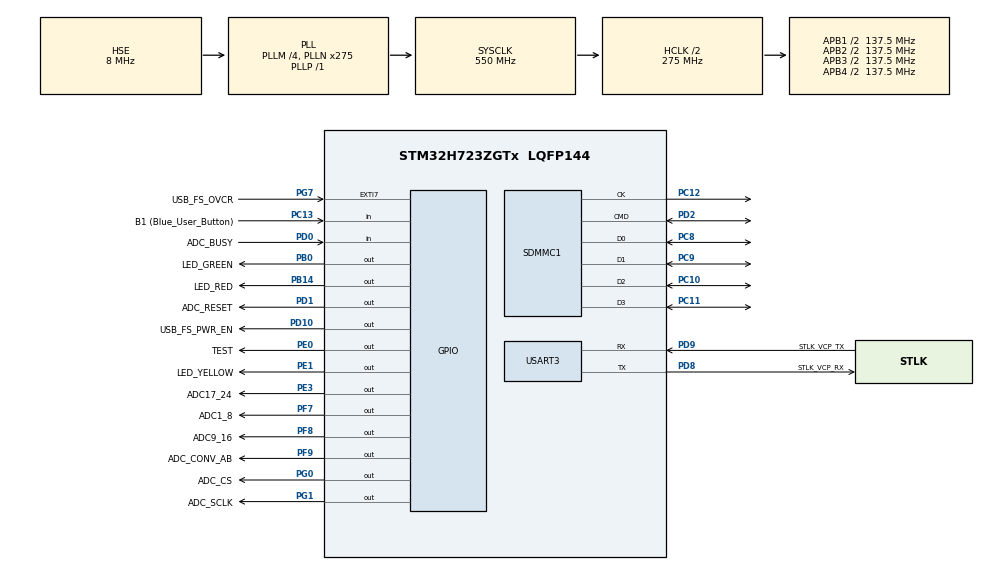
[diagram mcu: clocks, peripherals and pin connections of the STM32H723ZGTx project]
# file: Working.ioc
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FATFS.BSP.number=1
FATFS0.BSP.STBoard=false
FATFS0.BSP.api=Unknown
FATFS0.BSP.i2caddr=0
FATFS0.BSP.instance=PC13
FATFS0.BSP.ip=GPIO
FATFS0.BSP.mode=Input
FATFS0.BSP.name=Detect_SDIO
FATFS0.BSP.solution=PC13
Mcu.Family=STM32H7
Mcu.Name=STM32H723ZGTx
Mcu.Package=LQFP144
Mdma.MDMA_Channel0.Request0=SDMMC1_DMA_ENDBUFFER
Mdma.MDMA_Channel0.RequestsNb=1
Mdma.MDMA_Channel0.SDMMC1_DMA_ENDBUFFER.0.BlockCount=0
Mdma.MDMA_Channel0.SDMMC1_DMA_ENDBUFFER.0.BlockDataLength=0
Mdma.MDMA_Channel0.SDMMC1_DMA_ENDBUFFER.0.BufferTransferLength=1
Mdma.MDMA_Channel0.SDMMC1_DMA_ENDBUFFER.0.CircularMode=MDMA_LINEAR_LIST
Mdma.MDMA_Channel0.SDMMC1_DMA_ENDBUFFER.0.DataAlignment=MDMA_DATAALIGN_PACKENABLE
Mdma.MDMA_Channel0.SDMMC1_DMA_ENDBUFFER.0.DestBlockAddressOffset=0
Mdma.MDMA_Channel0.SDMMC1_DMA_ENDBUFFER.0.DestBurst=MDMA_DEST_BURST_SINGLE
Mdma.MDMA_Channel0.SDMMC1_DMA_ENDBUFFER.0.DestDataSize=MDMA_DEST_DATASIZE_BYTE
Mdma.MDMA_Channel0.SDMMC1_DMA_ENDBUFFER.0.DestinationInc=MDMA_DEST_INC_BYTE
Mdma.MDMA_Channel0.SDMMC1_DMA_ENDBUFFER.0.DstAddress=0
Mdma.MDMA_Channel0.SDMMC1_DMA_ENDBUFFER.0.Endianness=MDMA_LITTLE_ENDIANNESS_PRESERVE
Mdma.MDMA_Channel0.SDMMC1_DMA_ENDBUFFER.0.Instance=MDMA_Channel0
Mdma.MDMA_Channel0.SDMMC1_DMA_ENDBUFFER.0.MaskAddress=0
Mdma.MDMA_Channel0.SDMMC1_DMA_ENDBUFFER.0.MaskData=0
Mdma.MDMA_Channel0.SDMMC1_DMA_ENDBUFFER.0.Priority=MDMA_PRIORITY_LOW
Mdma.MDMA_Channel0.SDMMC1_DMA_ENDBUFFER.0.Rank=First
Mdma.MDMA_Channel0.SDMMC1_DMA_ENDBUFFER.0.SourceBlockAddressOffset=0
Mdma.MDMA_Channel0.SDMMC1_DMA_ENDBUFFER.0.SourceBurst=MDMA_SOURCE_BURST_SINGLE
Mdma.MDMA_Channel0.SDMMC1_DMA_ENDBUFFER.0.SourceDataSize=MDMA_SRC_DATASIZE_BYTE
Mdma.MDMA_Channel0.SDMMC1_DMA_ENDBUFFER.0.SourceInc=MDMA_SRC_INC_BYTE
Mdma.MDMA_Channel0.SDMMC1_DMA_ENDBUFFER.0.SrcAddress=0
Mdma.MDMA_Channel0.SDMMC1_DMA_ENDBUFFER.0.TransferTriggerMode=MDMA_BUFFER_TRANSFER
Mdma.RequestSet0=MDMA_Channel0
Mdma.RequestSetsNb=1
NVIC.MDMA_IRQn=true\:0\:0\:false\:false\:true\:false\:true
NVIC.PriorityGroup=NVIC_PRIORITYGROUP_4
NVIC.SDMMC1_IRQn=true\:0\:0\:false\:false\:true\:true\:true
NVIC.TIM7_IRQn=true\:0\:0\:false\:false\:true\:true\:true
PA1.GPIO_Label=RMII_REF_CLK
PA1.Signal=ETH_REF_CLK
PA10.GPIO_Label=USB_FS_ID
PA10.Signal=USB_OTG_HS_ID
PA13(JTMS/SWDIO).GPIO_Label=SWDIO
PA13(JTMS/SWDIO).Mode=Trace_Asynchronous_SW
PA13(JTMS/SWDIO).Signal=DEBUG_JTMS-SWDIO
PA14(JTCK/SWCLK).GPIO_Label=SWCLK
PA14(JTCK/SWCLK).Mode=Trace_Asynchronous_SW
PA14(JTCK/SWCLK).Signal=DEBUG_JTCK-SWCLK
PA2.GPIO_Label=RMII_MDIO
PA2.Signal=ETH_MDIO
PA7.GPIO_Label=RMII_CRS_DV
PA7.Signal=ETH_CRS_DV
PA9.GPIO_Label=USB_FS_VBUS
PA9.Signal=USB_OTG_HS_VBUS
PB0.GPIO_Label=LED_GREEN
PB0.Signal=GPIO_Output
PB13.GPIO_Label=RMII_TXD1
PB13.Signal=ETH_TXD1
PB14.GPIO_Label=LED_RED
PB14.Signal=GPIO_Output
PB3(JTDO/TRACESWO).GPIO_Label=SWO
PB3(JTDO/TRACESWO).Mode=Trace_Asynchronous_SW
PB3(JTDO/TRACESWO).Signal=DEBUG_JTDO-SWO
PC1.GPIO_Label=RMII_MDC
PC1.Signal=ETH_MDC
PC10.Mode=SD_4_bits_Wide_bus
PC10.Signal=SDMMC1_D2
PC11.Mode=SD_4_bits_Wide_bus
PC11.Signal=SDMMC1_D3
PC12.Mode=SD_4_bits_Wide_bus
PC12.Signal=SDMMC1_CK
PC13.GPIO_Label=B1 (Blue_User_Button)
PC13.Signal=GPIO_Input
PC14-OSC32_IN.Mode=LSE-External-Oscillator
PC14-OSC32_IN.Signal=RCC_OSC32_IN
PC15-OSC32_OUT.Mode=LSE-External-Oscillator
PC15-OSC32_OUT.Signal=RCC_OSC32_OUT
PC4.GPIO_Label=RMII_RXD0
PC4.Signal=ETH_RXD0
PC5.GPIO_Label=RMII_RXD1
PC5.Signal=ETH_RXD1
PC8.Mode=SD_4_bits_Wide_bus
PC8.Signal=SDMMC1_D0
PC9.Mode=SD_4_bits_Wide_bus
PC9.Signal=SDMMC1_D1
PD0.GPIO_Label=ADC_BUSY
PD0.Signal=GPIO_Input
PD1.GPIO_Label=ADC_RESET
PD1.Signal=GPIO_Output
PD10.GPIO_Label=USB_FS_PWR_EN
PD10.Signal=GPIO_Output
PD2.Mode=SD_4_bits_Wide_bus
PD2.Signal=SDMMC1_CMD
PD8.GPIO_Label=STLK_VCP_RX
PD8.Mode=Asynchronous
PD8.Signal=USART3_TX
PD9.GPIO_Label=STLK_VCP_TX
PD9.Mode=Asynchronous
PD9.Signal=USART3_RX
PE0.GPIO_Label=TEST
PE0.PinState=GPIO_PIN_RESET
PE0.Signal=GPIO_Output
PE1.GPIO_Label=LED_YELLOW
PE1.Signal=GPIO_Output
PE3.GPIO_Label=ADC17_24
PE3.Signal=GPIO_Output
PF7.GPIO_Label=ADC1_8
PF7.Signal=GPIO_Output
PF8.GPIO_Label=ADC9_16
PF8.Signal=GPIO_Output
PF9.GPIO_Label=ADC_CONV_AB
PF9.Signal=GPIO_Output
PG0.GPIO_Label=ADC_CS
PG0.Signal=GPIO_Output
PG1.GPIO_Label=ADC_SCLK
PG1.GPIO_Speed=GPIO_SPEED_FREQ_VERY_HIGH
PG1.Signal=GPIO_Output
PG11.GPIO_Label=RMII_TX_EN
PG11.Signal=ETH_TX_EN
PG13.GPIO_Label=RMII_TXD0
PG13.Signal=ETH_TXD0
PG7.GPIO_Label=USB_FS_OVCR
PG7.Signal=GPXTI7
PH0-OSC_IN.GPIO_Label=MCO
PH0-OSC_IN.Mode=HSE-External-Clock-Source
PH0-OSC_IN.Signal=RCC_OSC_IN
PH1-OSC_OUT.Signal=RCC_OSC_OUT
ProjectManager.HeapSize=0x200
ProjectManager.StackSize=0x400
ProjectManager.TargetToolchain=STM32CubeIDE
RCC.ADCFreq_Value=76000000
RCC.APB1Freq_Value=137500000
RCC.APB2Freq_Value=137500000
RCC.APB3Freq_Value=137500000
RCC.APB4Freq_Value=137500000
RCC.CortexFreq_Value=550000000
RCC.D1PPRE=RCC_APB3_DIV2
RCC.D2PPRE1=RCC_APB1_DIV2
RCC.D2PPRE2=RCC_APB2_DIV2
RCC.D3PPRE=RCC_APB4_DIV2
RCC.DIVM1=4
RCC.DIVM2=1
RCC.DIVN1=275
RCC.DIVN2=19
RCC.DIVP1=1
RCC.DIVQ1=4
RCC.HCLKFreq_Value=275000000
RCC.HPRE=RCC_HCLK_DIV2
RCC.HSE_VALUE=8000000
RCC.PLL2FRACN=0
RCC.PLL2_VCO_SEL-AdvancedSettings=RCC_PLL2VCOMEDIUM
RCC.PLL3FRACN=0
RCC.PLL3_VCO_SEL-AdvancedSettings=RCC_PLL3VCOMEDIUM
RCC.PLLFRACN=0
RCC.PLLSourceVirtual=RCC_PLLSOURCE_HSE
RCC.SYSCLKFreq_VALUE=550000000
RCC.SYSCLKSource=RCC_SYSCLKSOURCE_PLLCLK
RCC.USBCLockSelection=RCC_USBCLKSOURCE_HSI48
RCC.USBFreq_Value=48000000
SDMMC1.ClockDiv=5
SDMMC1.ClockPowerSave=SDMMC_CLOCK_POWER_SAVE_ENABLE
TIM14.Period=136
TIM14.Prescaler=0
TIM7.Period=500-1
TIM7.Prescaler=1375-1
TIM7.TIM_MasterOutputTrigger=TIM_TRGO_RESET
USART3.VirtualMode-Asynchronous=VM_ASYNC
VP_FATFS_VS_SDIO.Mode=SDIO
VP_TIM14_VS_ClockSourceINT.Mode=Enable_Timer
VP_TIM7_VS_ClockSourceINT.Mode=Enable_Timer
board=NUCLEO-H723ZG

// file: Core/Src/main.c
/* USER CODE BEGIN Header */
/**
  ******************************************************************************
  * @file           : main.c
  * @brief          : Main program body
  ******************************************************************************
  * @attention
  *
  * Copyright (c) 2022 STMicroelectronics.
  * All rights reserved.
  *
  * This software is licensed under terms that can be found in the LICENSE file
  * in the root directory of this software component.
  * If no LICENSE file comes with this software, it is provided AS-IS.
  *
  ******************************************************************************
  */
/* USER CODE END Header */
#include "main.h"
#include "fatfs.h"

/* USER CODE BEGIN Includes */
#include "stm32h7xx_hal_tim.h"
#include "ADS8588H.h"
#include "SDInterface.h"
#include "string.h"
/* USER CODE END Includes */

/* USER CODE BEGIN PD */
#define ADCBits 16
#define ADCChannelQTY 8
#define ADCCount 3
#define ADCFrames 32
#define OverHead 4
#define SDCardDataLength ADCBits*ADCChannelQTY*ADCCount*ADCFrames + OverHead
/* USER CODE END PD */

SD_HandleTypeDef hsd1;

TIM_HandleTypeDef htim7;
TIM_HandleTypeDef htim14;

UART_HandleTypeDef huart3;

MDMA_HandleTypeDef hmdma_mdma_channel40_sdmmc1_dma_endbuffer_0;

void SystemClock_Config(void);
static void MX_GPIO_Init(void);
static void MX_USART3_UART_Init(void);
static void MX_TIM7_Init(void);
static void MX_MDMA_Init(void);
static void MX_SDMMC1_SD_Init(void);
static void MX_TIM14_Init(void);

/* USER CODE BEGIN 0 */
int StartADCFlag = 0;
const char * file_name[] = {"MyFile.hex"};
/* USER CODE END 0 */

int main(void)
{

  /* MCU Configuration--------------------------------------------------------*/

  /* Reset of all peripherals, Initializes the Flash interface and the Systick. */
  HAL_Init();

  /* Configure the system clock */
  SystemClock_Config();

  /* Initialize all configured peripherals */
  MX_GPIO_Init();
  MX_USART3_UART_Init();
  MX_TIM7_Init();
  MX_MDMA_Init();
  MX_SDMMC1_SD_Init();
  MX_TIM14_Init();
  MX_FATFS_Init();
  /* USER CODE BEGIN 2 */
  MountSD();
  HAL_TIM_Base_Start(&htim14);
  ADS8588H_init();
  HAL_TIM_Base_Start_IT(&htim7);

  OpenSD(file_name,a);
  ADC_DATA_t ADC_DATA = {0};
  uint16_t DATATRANS[SDCardDataLength] = {0};
  uint32_t BytesWritten = 0;
  uint32_t SAVEFILENOW = 200*60*60*1/ADCFrames;
  uint32_t FileINC = 0;
  /* USER CODE END 2 */

  /* Infinite loop */
  /* USER CODE BEGIN WHILE */
  while (1)
  {
	  // Enter task list
	  if (StartADCFlag == 1)
	  {
		ADC_SERVICE_ROUTINE(&ADC_DATA);
		StartADCFlag = RESET;

		memcpy(&DATATRANS[ADC_DATA.ADCCallCount*24 + 0], &ADC_DATA.ADC1_8[0],16);
		memcpy(&DATATRANS[ADC_DATA.ADCCallCount*24 + 8], &ADC_DATA.ADC9_16[0],16);
		memcpy(&DATATRANS[ADC_DATA.ADCCallCount*24 + 16], &ADC_DATA.ADC17_24[0],16);
		ADC_DATA.ADCCallCount++;
	  }

	  if(ADC_DATA.ADCCallCount >= ADCFrames)
	  {
		  ADC_DATA.ADCCallCount = 0;
		  for(uint16_t i = 0; i < SDCardDataLength; i++)
		  {
			  DATATRANS[SDCardDataLength] = i;
		  }
		  WriteSD(DATATRANS,SDCardDataLength,&BytesWritten);
		  FileINC++;
	  }
	  if (FileINC >= SAVEFILENOW)
	  {
		  HAL_TIM_Base_Stop_IT(&htim7);
		  CloseSD();
		  UnMountSD();
		  Error_Handler();
	  }
    /* USER CODE END WHILE */

  }
}

void SystemClock_Config(void)
{
  RCC_OscInitTypeDef RCC_OscInitStruct = {0};
  RCC_ClkInitTypeDef RCC_ClkInitStruct = {0};

  /** Supply configuration update enable
  */
  HAL_PWREx_ConfigSupply(PWR_LDO_SUPPLY);
  /** Configure the main internal regulator output voltage
  */
  __HAL_PWR_VOLTAGESCALING_CONFIG(PWR_REGULATOR_VOLTAGE_SCALE0);

  while(!__HAL_PWR_GET_FLAG(PWR_FLAG_VOSRDY)) {}
  /** Initializes the RCC Oscillators according to the specified parameters
  * in the RCC_OscInitTypeDef structure.
  */
  RCC_OscInitStruct.OscillatorType = RCC_OSCILLATORTYPE_HSE;
  RCC_OscInitStruct.HSEState = RCC_HSE_BYPASS;
  RCC_OscInitStruct.PLL.PLLState = RCC_PLL_ON;
  RCC_OscInitStruct.PLL.PLLSource = RCC_PLLSOURCE_HSE;
  RCC_OscInitStruct.PLL.PLLM = 4;
  RCC_OscInitStruct.PLL.PLLN = 275;
  RCC_OscInitStruct.PLL.PLLP = 1;
  RCC_OscInitStruct.PLL.PLLQ = 4;
  RCC_OscInitStruct.PLL.PLLR = 2;
  RCC_OscInitStruct.PLL.PLLRGE = RCC_PLL1VCIRANGE_1;
  RCC_OscInitStruct.PLL.PLLVCOSEL = RCC_PLL1VCOWIDE;
  RCC_OscInitStruct.PLL.PLLFRACN = 0;
  if (HAL_RCC_OscConfig(&RCC_OscInitStruct) != HAL_OK)
  {
    Error_Handler();
  }
  /** Initializes the CPU, AHB and APB buses clocks
  */
  RCC_ClkInitStruct.ClockType = RCC_CLOCKTYPE_HCLK|RCC_CLOCKTYPE_SYSCLK
                              |RCC_CLOCKTYPE_PCLK1|RCC_CLOCKTYPE_PCLK2
                              |RCC_CLOCKTYPE_D3PCLK1|RCC_CLOCKTYPE_D1PCLK1;
  RCC_ClkInitStruct.SYSCLKSource = RCC_SYSCLKSOURCE_PLLCLK;
  RCC_ClkInitStruct.SYSCLKDivider = RCC_SYSCLK_DIV1;
  RCC_ClkInitStruct.AHBCLKDivider = RCC_HCLK_DIV2;
  RCC_ClkInitStruct.APB3CLKDivider = RCC_APB3_DIV2;
  RCC_ClkInitStruct.APB1CLKDivider = RCC_APB1_DIV2;
  RCC_ClkInitStruct.APB2CLKDivider = RCC_APB2_DIV2;
  RCC_ClkInitStruct.APB4CLKDivider = RCC_APB4_DIV2;

  if (HAL_RCC_ClockConfig(&RCC_ClkInitStruct, FLASH_LATENCY_3) != HAL_OK)
  {
    Error_Handler();
  }
}

static void MX_SDMMC1_SD_Init(void)
{

  hsd1.Instance = SDMMC1;
  hsd1.Init.ClockEdge = SDMMC_CLOCK_EDGE_RISING;
  hsd1.Init.ClockPowerSave = SDMMC_CLOCK_POWER_SAVE_ENABLE;
  hsd1.Init.BusWide = SDMMC_BUS_WIDE_4B;
  hsd1.Init.HardwareFlowControl = SDMMC_HARDWARE_FLOW_CONTROL_DISABLE;
  hsd1.Init.ClockDiv = 5;

}

static void MX_TIM7_Init(void)
{

  TIM_MasterConfigTypeDef sMasterConfig = {0};

  htim7.Instance = TIM7;
  htim7.Init.Prescaler = 1375-1;
  htim7.Init.CounterMode = TIM_COUNTERMODE_UP;
  htim7.Init.Period = 500-1;
  htim7.Init.AutoReloadPreload = TIM_AUTORELOAD_PRELOAD_DISABLE;
  if (HAL_TIM_Base_Init(&htim7) != HAL_OK)
  {
    Error_Handler();
  }
  sMasterConfig.MasterOutputTrigger = TIM_TRGO_RESET;
  sMasterConfig.MasterSlaveMode = TIM_MASTERSLAVEMODE_DISABLE;
  if (HAL_TIMEx_MasterConfigSynchronization(&htim7, &sMasterConfig) != HAL_OK)
  {
    Error_Handler();
  }

}

static void MX_TIM14_Init(void)
{

  htim14.Instance = TIM14;
  htim14.Init.Prescaler = 0;
  htim14.Init.CounterMode = TIM_COUNTERMODE_UP;
  htim14.Init.Period = 136;
  htim14.Init.ClockDivision = TIM_CLOCKDIVISION_DIV1;
  htim14.Init.AutoReloadPreload = TIM_AUTORELOAD_PRELOAD_DISABLE;
  if (HAL_TIM_Base_Init(&htim14) != HAL_OK)
  {
    Error_Handler();
  }
  /* USER CODE BEGIN TIM14_Init 2 */
  //HAL_TIM_Base_Start_IT(&htim14);
  //TIM14->CCR1 = 34;

  /* USER CODE END TIM14_Init 2 */

}

static void MX_USART3_UART_Init(void)
{

  huart3.Instance = USART3;
  huart3.Init.BaudRate = 115200;
  huart3.Init.WordLength = UART_WORDLENGTH_8B;
  huart3.Init.StopBits = UART_STOPBITS_1;
  huart3.Init.Parity = UART_PARITY_NONE;
  huart3.Init.Mode = UART_MODE_TX_RX;
  huart3.Init.HwFlowCtl = UART_HWCONTROL_NONE;
  huart3.Init.OverSampling = UART_OVERSAMPLING_16;
  huart3.Init.OneBitSampling = UART_ONE_BIT_SAMPLE_DISABLE;
  huart3.Init.ClockPrescaler = UART_PRESCALER_DIV1;
  huart3.AdvancedInit.AdvFeatureInit = UART_ADVFEATURE_NO_INIT;
  if (HAL_UART_Init(&huart3) != HAL_OK)
  {
    Error_Handler();
  }
  if (HAL_UARTEx_SetTxFifoThreshold(&huart3, UART_TXFIFO_THRESHOLD_1_8) != HAL_OK)
  {
    Error_Handler();
  }
  if (HAL_UARTEx_SetRxFifoThreshold(&huart3, UART_RXFIFO_THRESHOLD_1_8) != HAL_OK)
  {
    Error_Handler();
  }
  if (HAL_UARTEx_DisableFifoMode(&huart3) != HAL_OK)
  {
    Error_Handler();
  }

}

/**
  * Enable MDMA controller clock
  * Configure MDMA for global transfers
  *   hmdma_mdma_channel40_sdmmc1_dma_endbuffer_0
  */
static void MX_MDMA_Init(void)
{

  /* MDMA controller clock enable */
  __HAL_RCC_MDMA_CLK_ENABLE();
  /* Local variables */

  /* Configure MDMA channel MDMA_Channel0 */
  /* Configure MDMA request hmdma_mdma_channel40_sdmmc1_dma_endbuffer_0 on MDMA_Channel0 */
  hmdma_mdma_channel40_sdmmc1_dma_endbuffer_0.Instance = MDMA_Channel0;
  hmdma_mdma_channel40_sdmmc1_dma_endbuffer_0.Init.Request = MDMA_REQUEST_SDMMC1_DMA_ENDBUFFER;
  hmdma_mdma_channel40_sdmmc1_dma_endbuffer_0.Init.TransferTriggerMode = MDMA_BUFFER_TRANSFER;
  hmdma_mdma_channel40_sdmmc1_dma_endbuffer_0.Init.Priority = MDMA_PRIORITY_LOW;
  hmdma_mdma_channel40_sdmmc1_dma_endbuffer_0.Init.Endianness = MDMA_LITTLE_ENDIANNESS_PRESERVE;
  hmdma_mdma_channel40_sdmmc1_dma_endbuffer_0.Init.SourceInc = MDMA_SRC_INC_BYTE;
  hmdma_mdma_channel40_sdmmc1_dma_endbuffer_0.Init.DestinationInc = MDMA_DEST_INC_BYTE;
  hmdma_mdma_channel40_sdmmc1_dma_endbuffer_0.Init.SourceDataSize = MDMA_SRC_DATASIZE_BYTE;
  hmdma_mdma_channel40_sdmmc1_dma_endbuffer_0.Init.DestDataSize = MDMA_DEST_DATASIZE_BYTE;
  hmdma_mdma_channel40_sdmmc1_dma_endbuffer_0.Init.DataAlignment = MDMA_DATAALIGN_PACKENABLE;
  hmdma_mdma_channel40_sdmmc1_dma_endbuffer_0.Init.BufferTransferLength = 1;
  hmdma_mdma_channel40_sdmmc1_dma_endbuffer_0.Init.SourceBurst = MDMA_SOURCE_BURST_SINGLE;
  hmdma_mdma_channel40_sdmmc1_dma_endbuffer_0.Init.DestBurst = MDMA_DEST_BURST_SINGLE;
  hmdma_mdma_channel40_sdmmc1_dma_endbuffer_0.Init.SourceBlockAddressOffset = 0;
  hmdma_mdma_channel40_sdmmc1_dma_endbuffer_0.Init.DestBlockAddressOffset = 0;
  if (HAL_MDMA_Init(&hmdma_mdma_channel40_sdmmc1_dma_endbuffer_0) != HAL_OK)
  {
    Error_Handler();
  }

  /* Configure post request address and data masks */
  if (HAL_MDMA_ConfigPostRequestMask(&hmdma_mdma_channel40_sdmmc1_dma_endbuffer_0, 0, 0) != HAL_OK)
  {
    Error_Handler();
  }

  /* MDMA interrupt initialization */
  /* MDMA_IRQn interrupt configuration */
  HAL_NVIC_SetPriority(MDMA_IRQn, 0, 0);
  HAL_NVIC_EnableIRQ(MDMA_IRQn);

}

static void MX_GPIO_Init(void)
{
  GPIO_InitTypeDef GPIO_InitStruct = {0};

  /* GPIO Ports Clock Enable */
  __HAL_RCC_GPIOE_CLK_ENABLE();
  __HAL_RCC_GPIOC_CLK_ENABLE();
  __HAL_RCC_GPIOF_CLK_ENABLE();
  __HAL_RCC_GPIOH_CLK_ENABLE();
  __HAL_RCC_GPIOA_CLK_ENABLE();
  __HAL_RCC_GPIOB_CLK_ENABLE();
  __HAL_RCC_GPIOG_CLK_ENABLE();
  __HAL_RCC_GPIOD_CLK_ENABLE();

  /*Configure GPIO pin Output Level */
  HAL_GPIO_WritePin(GPIOE, ADC17_24_Pin|TEST_Pin|LED_YELLOW_Pin, GPIO_PIN_RESET);

  /*Configure GPIO pin Output Level */
  HAL_GPIO_WritePin(GPIOF, ADC1_8_Pin|ADC9_16_Pin|ADC_CONV_AB_Pin, GPIO_PIN_RESET);

  /*Configure GPIO pin Output Level */
  HAL_GPIO_WritePin(GPIOB, LED_GREEN_Pin|LED_RED_Pin, GPIO_PIN_RESET);

  /*Configure GPIO pin Output Level */
  HAL_GPIO_WritePin(GPIOG, ADC_CS_Pin|ADC_SCLK_Pin, GPIO_PIN_RESET);

  /*Configure GPIO pin Output Level */
  HAL_GPIO_WritePin(GPIOD, USB_FS_PWR_EN_Pin|ADC_RESET_Pin, GPIO_PIN_RESET);

  /*Configure GPIO pins : ADC17_24_Pin TEST_Pin LED_YELLOW_Pin */
  GPIO_InitStruct.Pin = ADC17_24_Pin|TEST_Pin|LED_YELLOW_Pin;
  GPIO_InitStruct.Mode = GPIO_MODE_OUTPUT_PP;
  GPIO_InitStruct.Pull = GPIO_NOPULL;
  GPIO_InitStruct.Speed = GPIO_SPEED_FREQ_LOW;
  HAL_GPIO_Init(GPIOE, &GPIO_InitStruct);

  /*Configure GPIO pin : B1_Pin */
  GPIO_InitStruct.Pin = B1_Pin;
  GPIO_InitStruct.Mode = GPIO_MODE_INPUT;
  GPIO_InitStruct.Pull = GPIO_NOPULL;
  HAL_GPIO_Init(B1_GPIO_Port, &GPIO_InitStruct);

  /*Configure GPIO pins : ADC1_8_Pin ADC9_16_Pin ADC_CONV_AB_Pin */
  GPIO_InitStruct.Pin = ADC1_8_Pin|ADC9_16_Pin|ADC_CONV_AB_Pin;
  GPIO_InitStruct.Mode = GPIO_MODE_OUTPUT_PP;
  GPIO_InitStruct.Pull = GPIO_NOPULL;
  GPIO_InitStruct.Speed = GPIO_SPEED_FREQ_LOW;
  HAL_GPIO_Init(GPIOF, &GPIO_InitStruct);

  /*Configure GPIO pins : RMII_MDC_Pin RMII_RXD0_Pin RMII_RXD1_Pin */
  GPIO_InitStruct.Pin = RMII_MDC_Pin|RMII_RXD0_Pin|RMII_RXD1_Pin;
  GPIO_InitStruct.Mode = GPIO_MODE_AF_PP;
  GPIO_InitStruct.Pull = GPIO_NOPULL;
  GPIO_InitStruct.Speed = GPIO_SPEED_FREQ_LOW;
  GPIO_InitStruct.Alternate = GPIO_AF11_ETH;
  HAL_GPIO_Init(GPIOC, &GPIO_InitStruct);

  /*Configure GPIO pins : RMII_REF_CLK_Pin RMII_MDIO_Pin RMII_CRS_DV_Pin */
  GPIO_InitStruct.Pin = RMII_REF_CLK_Pin|RMII_MDIO_Pin|RMII_CRS_DV_Pin;
  GPIO_InitStruct.Mode = GPIO_MODE_AF_PP;
  GPIO_InitStruct.Pull = GPIO_NOPULL;
  GPIO_InitStruct.Speed = GPIO_SPEED_FREQ_LOW;
  GPIO_InitStruct.Alternate = GPIO_AF11_ETH;
  HAL_GPIO_Init(GPIOA, &GPIO_InitStruct);

  /*Configure GPIO pins : LED_GREEN_Pin LED_RED_Pin */
  GPIO_InitStruct.Pin = LED_GREEN_Pin|LED_RED_Pin;
  GPIO_InitStruct.Mode = GPIO_MODE_OUTPUT_PP;
  GPIO_InitStruct.Pull = GPIO_NOPULL;
  GPIO_InitStruct.Speed = GPIO_SPEED_FREQ_LOW;
  HAL_GPIO_Init(GPIOB, &GPIO_InitStruct);

  /*Configure GPIO pin : ADC_CS_Pin */
  GPIO_InitStruct.Pin = ADC_CS_Pin;
  GPIO_InitStruct.Mode = GPIO_MODE_OUTPUT_PP;
  GPIO_InitStruct.Pull = GPIO_NOPULL;
  GPIO_InitStruct.Speed = GPIO_SPEED_FREQ_LOW;
  HAL_GPIO_Init(ADC_CS_GPIO_Port, &GPIO_InitStruct);

  /*Configure GPIO pin : ADC_SCLK_Pin */
  GPIO_InitStruct.Pin = ADC_SCLK_Pin;
  GPIO_InitStruct.Mode = GPIO_MODE_OUTPUT_PP;
  GPIO_InitStruct.Pull = GPIO_NOPULL;
  GPIO_InitStruct.Speed = GPIO_SPEED_FREQ_VERY_HIGH;
  HAL_GPIO_Init(ADC_SCLK_GPIO_Port, &GPIO_InitStruct);

  /*Configure GPIO pin : RMII_TXD1_Pin */
  GPIO_InitStruct.Pin = RMII_TXD1_Pin;
  GPIO_InitStruct.Mode = GPIO_MODE_AF_PP;
  GPIO_InitStruct.Pull = GPIO_NOPULL;
  GPIO_InitStruct.Speed = GPIO_SPEED_FREQ_LOW;
  GPIO_InitStruct.Alternate = GPIO_AF11_ETH;
  HAL_GPIO_Init(RMII_TXD1_GPIO_Port, &GPIO_InitStruct);

  /*Configure GPIO pins : USB_FS_PWR_EN_Pin ADC_RESET_Pin */
  GPIO_InitStruct.Pin = USB_FS_PWR_EN_Pin|ADC_RESET_Pin;
  GPIO_InitStruct.Mode = GPIO_MODE_OUTPUT_PP;
  GPIO_InitStruct.Pull = GPIO_NOPULL;
  GPIO_InitStruct.Speed = GPIO_SPEED_FREQ_LOW;
  HAL_GPIO_Init(GPIOD, &GPIO_InitStruct);

  /*Configure GPIO pin : USB_FS_OVCR_Pin */
  GPIO_InitStruct.Pin = USB_FS_OVCR_Pin;
  GPIO_InitStruct.Mode = GPIO_MODE_IT_RISING;
  GPIO_InitStruct.Pull = GPIO_NOPULL;
  HAL_GPIO_Init(USB_FS_OVCR_GPIO_Port, &GPIO_InitStruct);

  /*Configure GPIO pin : USB_FS_ID_Pin */
  GPIO_InitStruct.Pin = USB_FS_ID_Pin;
  GPIO_InitStruct.Mode = GPIO_MODE_AF_PP;
  GPIO_InitStruct.Pull = GPIO_NOPULL;
  GPIO_InitStruct.Speed = GPIO_SPEED_FREQ_LOW;
  GPIO_InitStruct.Alternate = GPIO_AF10_OTG1_HS;
  HAL_GPIO_Init(USB_FS_ID_GPIO_Port, &GPIO_InitStruct);

  /*Configure GPIO pin : ADC_BUSY_Pin */
  GPIO_InitStruct.Pin = ADC_BUSY_Pin;
  GPIO_InitStruct.Mode = GPIO_MODE_INPUT;
  GPIO_InitStruct.Pull = GPIO_NOPULL;
  HAL_GPIO_Init(ADC_BUSY_GPIO_Port, &GPIO_InitStruct);

  /*Configure GPIO pins : RMII_TX_EN_Pin RMII_TXD0_Pin */
  GPIO_InitStruct.Pin = RMII_TX_EN_Pin|RMII_TXD0_Pin;
  GPIO_InitStruct.Mode = GPIO_MODE_AF_PP;
  GPIO_InitStruct.Pull = GPIO_NOPULL;
  GPIO_InitStruct.Speed = GPIO_SPEED_FREQ_LOW;
  GPIO_InitStruct.Alternate = GPIO_AF11_ETH;
  HAL_GPIO_Init(GPIOG, &GPIO_InitStruct);

}

/* USER CODE BEGIN 4 */
void HAL_TIM_PeriodElapsedCallback(TIM_HandleTypeDef *htim)
{
	// Check which version of the timer triggered this callback and toggle LED
	  if (htim == &htim7 )
	  {
		  HAL_GPIO_TogglePin(LED_GREEN_GPIO_Port,LED_GREEN_Pin);
		  // Flag for ADC Task
		  StartADCFlag = 1;
	  }
}
/* USER CODE END 4 */

void Error_Handler(void)
{
  /* USER CODE BEGIN Error_Handler_Debug */
  /* User can add his own implementation to report the HAL error return state */

  while (1)
  {
	  HAL_Delay(100);
	  HAL_GPIO_TogglePin(LED_RED_GPIO_Port,LED_RED_Pin);

  }
  /* USER CODE END Error_Handler_Debug */
}
